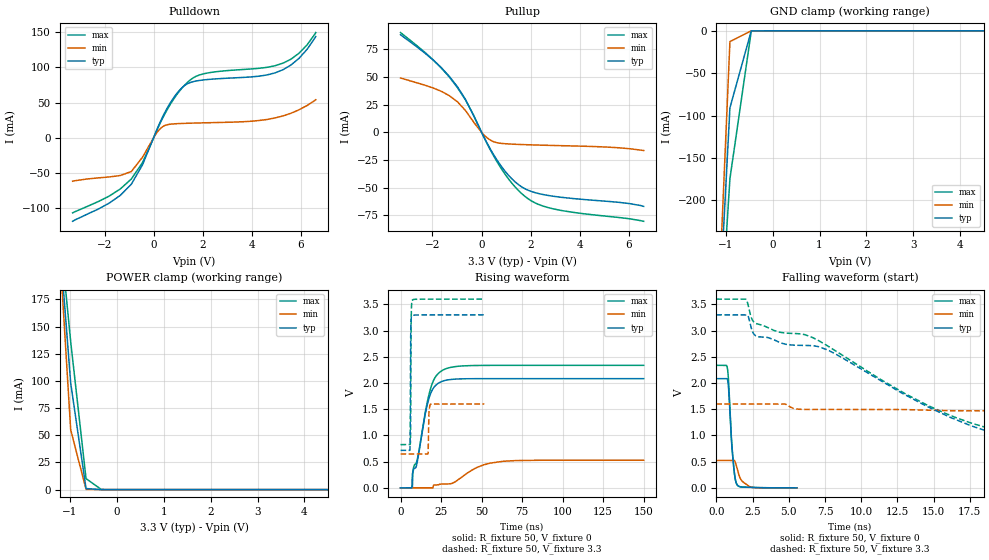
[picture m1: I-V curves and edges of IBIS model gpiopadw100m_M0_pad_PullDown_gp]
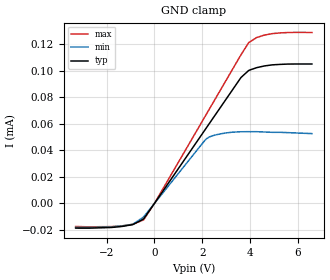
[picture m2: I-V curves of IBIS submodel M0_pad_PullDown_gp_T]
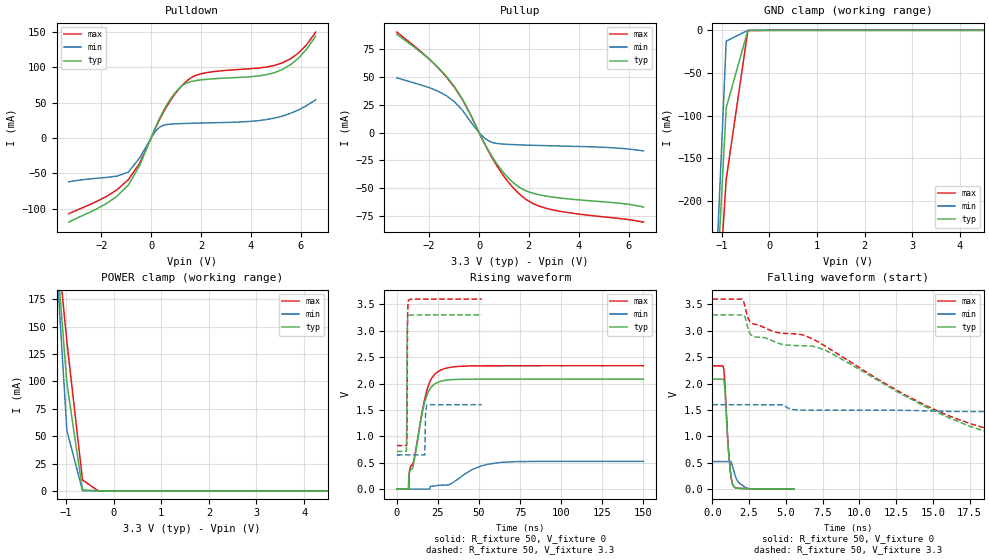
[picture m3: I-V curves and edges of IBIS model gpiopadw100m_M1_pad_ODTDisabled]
|   - ATMEL Microcontrollers -
|   IBIS model for SAM0D20_TQFP64
[IBIS Ver]   4.2
[Comment char]  |_char
[File Name]   sam0d20_3t64.ibs
[File Rev]   1.0
[Date]   6-MAY-2013 17:22:27
[Source]   By GENIBIS V3.2b - GENerate chip IBIS model - 29-APR-2013
[Notes]   Property of ATMEL Corporation
[Disclaimer]
                  (C) Copyright ATMEL Nantes 2002-2013
Atmel Nantes makes no warranty for the use of its products, other than
those expressly contained in the Company's standard warranty which is detailed
in Atmel's Terms and Conditions located on the Company's web site. The Company
assumes no responsability for any errors which may appear in this document.
The user is granted this license only to use the IBIS model and is not granted
rights to sell, load, rent, lease or license the IBIS model in whole or in part,
or in modified form to anyone other than user. User may modify the IBIS model
to suit its specific applications but rights to derivative works and such
modifications shall belong to Atmel Nantes.
This IBIS model is provided on an \"AS IS\" basis and Atmel Nantes makes
absolutely no warranty with respect to the information contained herein.
[Copyright]   Copyright (c) 2002-2013 by ATMEL Nantes SA
|   COMPONENT : SAM0D20_TQFP64
[Component]   SAM0D20_TQFP64
[Manufacturer]  ATMEL Nantes SAS
[Package]
| Package family : TQFP_L
| RLC file   : V1.0
| RLCEDIT tool   : V1.3-2009/04/07
| variable   typ   min   max
R_pkg   182.55m   101.88m   217.59m
L_pkg   4.97n   3.02n   5.92n
C_pkg   375.50f   369.49f   392.01f
[Pin]   signal_name   model_name   R_pin   L_pin   C_pin
|   Real model names   <--->   IBIS model names
|   gpiopadw100m33v1p66k25   gpiopadw100m
|   gpiopadw100m33v1p66k25   gpiopadw100m
|   gpiopadw100m33v1p66k25   gpiopadw100m
|  gpiopadtwifsmw100m33v1p66k25   gpiopadtwifsmw100m
|  gpiopadtwifsmw100m33v1p66k25   gpiopadtwifsmw100m
|  gpiopadtwifsmw100m33v1p66k25   gpiopadtwifsmw100m
|  gpiopadtwifsmw100m33v1p66k25   gpiopadtwifsmw100m
   1   PA00   gpiopadw100m  199.92m   5.34n  375.48f
   2   PA01   gpiopadw100m  192.66m   5.18n  375.16f
   3   PA02   gpiopadw100m  189.68m   5.12n  375.03f
   4   PA03   gpiopadw100m  188.95m   5.10n  375.00f
   5   PB04   gpiopadw100m  184.88m   5.02n  374.83f
   6   PB05   gpiopadw100m  181.82m   4.95n  374.69f
   7   GNDANA   GND  109.33m   3.39n  384.01f
   8   VDDANA   POWER  127.37m   3.78n  379.35f
   9   PB06   gpiopadw100m  179.82m   4.91n  374.61f
   10   PB07   gpiopadw100m  177.93m   4.87n  374.52f
   11   PB08   gpiopadw100m  177.99m   4.87n  374.53f
   12   PB09   gpiopadw100m  179.99m   4.91n  374.61f
   13   PA04   gpiopadw100m  183.77m   4.99n  374.78f
   14   PA05   gpiopadw100m  183.21m   4.98n  374.75f
   15   PA06   gpiopadw100m  188.76m   5.10n  374.99f
   16   PA07   gpiopadw100m  195.59m   5.25n  375.29f
   17   PA08   gpiopadtwifsmw100m  210.14m   5.56n  375.92f
   18   PA09   gpiopadtwifsmw100m  203.31m   5.41n  375.62f
   19   PA10   gpiopadw100m  196.97m   5.28n  375.35f
   20   PA11   gpiopadw100m  191.64m   5.16n  375.12f
   21   VDDIO   POWER  187.55m   5.07n  374.94f
   22   GND   GND  185.11m   5.02n  374.84f
   23   PB10   gpiopadw100m  184.09m   5.00n  374.79f
   24   PB11   gpiopadw100m  184.73m   5.01n  374.82f
   25   PB12   gpiopadtwifsmw100m  185.30m   5.03n  374.84f
   26   PB13   gpiopadtwifsmw100m  185.98m   5.04n  374.87f
   27   PB14   gpiopadw100m  188.36m   5.09n  374.98f
   28   PB15   gpiopadw100m  192.18m   5.17n  375.14f
   29   PA12   gpiopadtwifsmw100m  196.67m   5.27n  375.34f
   30   PA13   gpiopadtwifsmw100m  202.09m   5.39n  375.57f
   31   PA14   gpiopadw100m  206.49m   5.48n  375.76f
   32   PA15   gpiopadw100m  204.40m   5.44n  375.67f
   33   GND   GND  195.59m   5.25n  375.29f
   34   VDDIO   POWER  188.76m   5.10n  374.99f
   35   PA16   gpiopadtwifsmw100m  128.77m   3.81n  379.59f
   36   PA17   gpiopadtwifsmw100m  181.11m   4.94n  374.66f
   37   PA18   gpiopadw100m  178.14m   4.87n  374.53f
   38   PA19   gpiopadw100m  177.03m   4.85n  374.49f
   39   PB16   gpiopadtwifsmw100m  178.91m   4.89n  374.57f
   40   PB17   gpiopadtwifsmw100m  179.25m   4.90n  374.58f
   41   PA20   gpiopadw100m  179.60m   4.90n  374.60f
   42   PA21   gpiopadw100m  180.27m   4.92n  374.63f
   43   PA22   gpiopadtwifsmw100m  180.89m   4.93n  374.65f
   44   PA23   gpiopadtwifsmw100m  183.59m   4.99n  374.77f
   45   PA24   gpiopadw100m  188.01m   5.08n  374.96f
   46   PA25   gpiopadw100m  193.63m   5.20n  375.20f
   47   GND   GND  193.05m   5.19n  375.18f
   48   VDDIO   POWER  200.47m   5.35n  375.50f
   49   PB22   gpiopadw100m  196.68m   5.27n  375.34f
   50   PB23   gpiopadw100m  190.63m   5.14n  375.07f
   51   PA27   gpiopadw100m  186.60m   5.05n  374.90f
   52   RESET_N   gpiopadw100m  183.26m   4.98n  374.75f
   53   PA28   gpiopadw100m  181.65m   4.95n  374.69f
   54   GND   GND  134.50m   3.93n  380.58f
   55   VDDCORE   POWER  132.74m   3.90n  380.28f
   56   VDDIO   POWER  131.46m   3.87n  380.06f
   57   PA30   gpiopadw100m  186.97m   5.06n  374.92f
   58   PA31   gpiopadw100m  183.63m   4.99n  374.77f
   59   PB30   gpiopadtwifsmw100m  181.95m   4.95n  374.70f
   60   PB31   gpiopadtwifsmw100m  181.73m   4.95n  374.69f
   61   PB00   gpiopadw100m  182.78m   4.97n  374.73f
   62   PB01   gpiopadw100m  185.87m   5.04n  374.87f
   63   PB02   gpiopadw100m  190.82m   5.14n  375.08f
   64   PB03   gpiopadw100m  198.05m   5.30n  375.40f
|   MODEL SELECTOR : gpiopadtwifsmw100m
[Model Selector]   gpiopadtwifsmw100m
gpiopadtwifsmw100m_M3_pad_twi   twi mode
gpiopadtwifsmw100m_M2_pad_puodt_gpiop   pull up odt
gpiopadtwifsmw100m_M1_pad_noodt_gpiop   odt disabled
gpiopadtwifsmw100m_M0_pad_pdodt_gpiop   pull down odt
|   MODEL SELECTOR : gpiopadw100m
[Model Selector]   gpiopadw100m
gpiopadw100m_M2_pad_PullUp_gpio   Pull Up
gpiopadw100m_M1_pad_ODTDisabled   ODT Disabled
gpiopadw100m_M0_pad_PullDown_gp   Pull Down
| Models and submodels in the file (11): gpiopadw100m_M0_pad_PullDown_gp (I/O), M0_pad_PullDown_gp_T (Dynamic_clamp), gpiopadw100m_M1_pad_ODTDisabled (I/O), gpiopadw100m_M2_pad_PullUp_gpio (I/O), M2_pad_PullUp_gpio_T (Dynamic_clamp), gpiopadtwifsmw100m_M0_pad_pdodt_gpiop (I/O), M0_pad_pdodt_gpiop_T (Dynamic_clamp), gpiopadtwifsmw100m_M1_pad_noodt_gpiop (I/O), gpiopadtwifsmw100m_M2_pad_puodt_gpiop (I/O), M2_pad_puodt_gpiop_T (Dynamic_clamp), gpiopadtwifsmw100m_M3_pad_twi (I/O_open_sink)
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|   MODEL : gpiopadw100m_M0_pad_PullDown_gp
[Model] gpiopadw100m_M0_pad_PullDown_gp
Model_type I/O
Vinl  =  0.99
Vinh  =  2.31
Vmeas =  1.650
| Capacitance   typ   min   max
C_comp   1.24002p   1.23763p   1.27582p
| Variables   typ   min   max
[GND Clamp Reference]   0   0   0
[POWER Clamp Reference]   3.3   1.6   3.6
[Pulldown Reference]   0   0   0
[Pullup Reference]   3.3   1.6   3.6
[Temperature Range]   25   -40   105
[Voltage Range]   3.3   1.6   3.6
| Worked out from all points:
|   slope of the pulldown table from 0 to 0.495 V, typ, clamps not added: 12.9 ohm
|   slope of the pullup table from 0 to 0.495 V, typ, clamps not added: 24.3 ohm
|   falling waveform, R_fixture 50, V_fixture 0: 20-80 % time 299ps typ, 492ps min, 300ps max; typ from 2.08 V to 0.001 V
|   falling waveform, R_fixture 50, V_fixture 3.3: 20-80 % time 12.8ns typ, 35ns min, 12.5ns max; typ from 3.3 V to 0.715 V
|   rising waveform, R_fixture 50, V_fixture 0: 20-80 % time 7.4ns typ, 16.7ns min, 8.69ns max; typ from 0 V to 2.08 V
|   rising waveform, R_fixture 50, V_fixture 3.3: 20-80 % time 217ps typ, 319ps min, 221ps max; typ from 0.715 V to 3.3 V
[GND Clamp]
| Voltage   I(typ)   I(min)   I(max)
-3.3V     -2.634A    -3.19A     -2.302A
-1.364V   -570.8mA   -594.8mA   -573.1mA
-909.1mV  -90.85mA   -12.72mA   -174.6mA
-454.5mV  -20.67uA   -222.6nA   -356.4uA
6.6V      0A         0A         0A
[POWER Clamp]
| Voltage   I(typ)   I(min)   I(max)
-3.3V     1.751A     2.103A     1.493A
-1.309V   280.3mA    286mA      281.7mA
-981.8mV  98.06mA    55.04mA    136mA
-654.5mV  963uA      216.9uA    10.07mA
-327.3mV  1.354uA    8.417nA    98.06uA
6.6V      0A         0A         0A
[Pulldown]
| Voltage   I(typ)   I(min)   I(max)
-3.3V     -119mA     -61.98mA   -107mA
-1.818V   -93.33mA   -55.91mA   -83.28mA
-909.1mV  -66.28mA   -48.18mA   -58.8mA
-454.5mV  -38.59mA   -27.85mA   -35.52mA
309.4mV   25.56mA    14.14mA    23.9mA
773.4mV   54.8mA     19.53mA    52.8mA
1.238V    73.69mA    20.38mA    73.94mA
1.598V    79.67mA    20.77mA    84.92mA
2.062V    82.36mA    21.18mA    91.19mA
4.936V    92.21mA    28.04mA    102.4mA
5.918V    113mA      39.7mA     120.2mA
6.6V      144.1mA    54mA       149.7mA
[Pullup]
| Voltage   I(typ)   I(min)   I(max)
-3.3V     88.24mA    49.15mA    90.19mA
-1.964V   65.21mA    40.03mA    65.35mA
-981.8mV  41.15mA    27.61mA    40.42mA
-654.5mV  29.72mA    19.7mA     29.25mA
-327.3mV  15.24mA    9.418mA    15.62mA
51.56mV   -2.336mA   -1.279mA   -2.314mA
360.9mV   -15.31mA   -7.05mA    -16.02mA
1.083V    -38.48mA   -10.47mA   -41.7mA
1.805V    -51.42mA   -11.17mA   -58.57mA
2.32V     -55.33mA   -11.52mA   -65.17mA
3.042V    -58.15mA   -11.95mA   -69.75mA
6.6V      -66.94mA   -16.45mA   -80.43mA
[Ramp]
dV/dt_r   1.24997/7.40251n  0.314091/16.5147n  1.40232/8.68884n
dV/dt_f   1.55089/12.8345n  0.573997/35.0183n  1.66518/12.5246n
R_load = 50
[Falling Waveform]
R_fixture = 50
V_fixture = 0
V_fixture_min = 0
V_fixture_max = 0
| Time   V(typ)   V(min)   V(max)
0s        2.083V     523.3mV    2.337V
766.8ps   2.071V     523.3mV    2.283V
859.1ps   1.854V     523.3mV    1.98V
1.016ns   1.031V     523.3mV    1.086V
1.166ns   507.3mV    523.3mV    511.5mV
1.301ns   182.1mV    499mV      180.2mV
1.456ns   49.46mV    351.4mV    51.8mV
1.737ns   16.79mV    143.7mV    17.7mV
2.377ns   11.46mV    15.09mV    11.25mV
5.563ns   974.4uV    463.6uV    868.6uV
[Falling Waveform]
R_fixture = 50
V_fixture = 3.3
V_fixture_min = 1.6
V_fixture_max = 3.6
| Time   V(typ)   V(min)   V(max)
0s        3.3V       1.6V       3.6V
2.025ns   3.299V     1.599V     3.599V
2.467ns   3.006V     1.599V     3.213V
2.726ns   2.9V       1.599V     3.135V
7.623ns   2.639V     1.496V     2.718V
16.56ns   1.298V     1.471V     1.337V
19.86ns   995.9mV    1.47V      1.078V
23.59ns   851.1mV    1.469V     959.9mV
75.53ns   715.4mV    777.3mV    825.1mV
150ns     715mV      643.3mV    824.6mV
[Rising Waveform]
R_fixture = 50
V_fixture = 0
V_fixture_min = 0
V_fixture_max = 0
| Time   V(typ)   V(min)   V(max)
0s        2.426nV    1.414nV    231.1nV
7.015ns   1.373mV    1.414nV    231.1nV
7.273ns   249.7mV    1.414nV    1.092mV
7.688ns   306.6mV    1.414nV    339.6mV
10.15ns   466.4mV    1.414nV    517.8mV
17.83ns   1.736V     1.414nV    1.816V
21.13ns   1.938V     54.42mV    2.096V
26.11ns   2.036V     74.09mV    2.247V
63.28ns   2.083V     507.2mV    2.337V
150ns     2.083V     527.1mV    2.337V
[Rising Waveform]
R_fixture = 50
V_fixture = 3.3
V_fixture_min = 1.6
V_fixture_max = 3.6
| Time   V(typ)   V(min)   V(max)
0s        715.2mV    647.1mV    824.7mV
5.764ns   715.9mV    647.1mV    824.7mV
6.051ns   1.67V      647.1mV    842mV
6.232ns   2.824V     647.1mV    1.111V
6.51ns    3.197V     647.1mV    3.089V
7.104ns   3.28V      647.1mV    3.577V
17.01ns   3.299V     647.5mV    3.599V
17.47ns   3.299V     1.414V     3.599V
18.37ns   3.3V       1.593V     3.599V
51.69ns   3.3V       1.6V       3.6V
[Add Submodel]
| Submodel Name Mode
M0_pad_PullDown_gp_T Non-Driving
| Submodel
[Submodel]  M0_pad_PullDown_gp_T
Submodel_type Dynamic_clamp
[GND Clamp]
| Voltage   I(typ)   I(min)   I(max)
-3.3V     -18.53uA   -18.06uA   -17.4uA
-1.818V   -18.12uA   -17.64uA   -17.46uA
-909.1mV  -15.94uA   -15.68uA   -15.74uA
-454.5mV  -11.7uA    -10.25uA   -12.4uA
0V        13.22pA    6.228pA    323.5pA
2.166V    56.71uA    48.48uA    66.94uA
2.681V    70.21uA    52.14uA    82.88uA
3.627V    94.95uA    54.06uA    112.1uA
3.955V    100.3uA    54.12uA    121.3uA
4.282V    102.4uA    54.12uA    125.1uA
4.936V    104.5uA    53.64uA    128uA
6.6V      105.1uA    52.67uA    128.9uA
|   MODEL : gpiopadw100m_M1_pad_ODTDisabled
[Model] gpiopadw100m_M1_pad_ODTDisabled
Model_type I/O
Vinl  =  0.99
Vinh  =  2.31
Vmeas =  1.650
| Capacitance   typ   min   max
C_comp   1.24002p   1.23763p   1.27582p
| Variables   typ   min   max
[GND Clamp Reference]   0   0   0
[POWER Clamp Reference]   3.3   1.6   3.6
[Pulldown Reference]   0   0   0
[Pullup Reference]   3.3   1.6   3.6
[Temperature Range]   25   -40   105
[Voltage Range]   3.3   1.6   3.6
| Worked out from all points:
|   slope of the pulldown table from 0 to 0.495 V, typ, clamps not added: 12.9 ohm
|   slope of the pullup table from 0 to 0.495 V, typ, clamps not added: 24.3 ohm
|   falling waveform, R_fixture 50, V_fixture 0: 20-80 % time 299ps typ, 492ps min, 300ps max; typ from 2.08 V to 0.001 V
|   falling waveform, R_fixture 50, V_fixture 3.3: 20-80 % time 12.8ns typ, 35ns min, 12.5ns max; typ from 3.3 V to 0.715 V
|   rising waveform, R_fixture 50, V_fixture 0: 20-80 % time 7.4ns typ, 16.7ns min, 8.69ns max; typ from 0 V to 2.08 V
|   rising waveform, R_fixture 50, V_fixture 3.3: 20-80 % time 217ps typ, 319ps min, 221ps max; typ from 0.715 V to 3.3 V
[GND Clamp]
| Voltage   I(typ)   I(min)   I(max)
-3.3V     -2.634A    -3.19A     -2.302A
-1.364V   -570.8mA   -594.8mA   -573.1mA
-909.1mV  -90.85mA   -12.72mA   -174.6mA
-454.5mV  -20.67uA   -222.6nA   -356.4uA
6.6V      0A         0A         0A
[POWER Clamp]
| Voltage   I(typ)   I(min)   I(max)
-3.3V     1.751A     2.103A     1.493A
-1.309V   280.3mA    286mA      281.7mA
-981.8mV  98.06mA    55.04mA    136mA
-654.5mV  963uA      216.9uA    10.07mA
-327.3mV  1.354uA    8.417nA    98.06uA
6.6V      0A         0A         0A
[Pulldown]
| Voltage   I(typ)   I(min)   I(max)
-3.3V     -119mA     -61.98mA   -107mA
-1.818V   -93.33mA   -55.91mA   -83.28mA
-909.1mV  -66.28mA   -48.18mA   -58.8mA
-454.5mV  -38.59mA   -27.85mA   -35.52mA
309.4mV   25.56mA    14.14mA    23.9mA
773.4mV   54.8mA     19.53mA    52.8mA
1.238V    73.69mA    20.38mA    73.94mA
1.598V    79.67mA    20.77mA    84.92mA
2.062V    82.36mA    21.18mA    91.19mA
4.936V    92.21mA    28.04mA    102.4mA
5.918V    113mA      39.7mA     120.2mA
6.6V      144.1mA    54mA       149.7mA
[Pullup]
| Voltage   I(typ)   I(min)   I(max)
-3.3V     88.24mA    49.15mA    90.19mA
-1.964V   65.21mA    40.03mA    65.35mA
-981.8mV  41.15mA    27.61mA    40.42mA
-654.5mV  29.72mA    19.7mA     29.25mA
-327.3mV  15.24mA    9.418mA    15.62mA
51.56mV   -2.336mA   -1.279mA   -2.314mA
360.9mV   -15.31mA   -7.05mA    -16.02mA
1.083V    -38.48mA   -10.47mA   -41.7mA
1.805V    -51.42mA   -11.17mA   -58.57mA
2.32V     -55.33mA   -11.52mA   -65.17mA
3.042V    -58.15mA   -11.95mA   -69.75mA
6.6V      -66.94mA   -16.45mA   -80.43mA
[Ramp]
dV/dt_r   1.24997/7.40251n  0.314091/16.5147n  1.40232/8.68884n
dV/dt_f   1.55089/12.8345n  0.573997/35.0183n  1.66518/12.5246n
R_load = 50
[Falling Waveform]
R_fixture = 50
V_fixture = 0
V_fixture_min = 0
V_fixture_max = 0
| Time   V(typ)   V(min)   V(max)
0s        2.083V     523.3mV    2.337V
766.8ps   2.071V     523.3mV    2.283V
859.1ps   1.854V     523.3mV    1.98V
1.016ns   1.031V     523.3mV    1.086V
1.166ns   507.3mV    523.3mV    511.5mV
1.301ns   182.1mV    499mV      180.2mV
1.456ns   49.46mV    351.4mV    51.8mV
1.737ns   16.79mV    143.7mV    17.7mV
2.377ns   11.46mV    15.09mV    11.25mV
5.563ns   974.4uV    463.6uV    868.6uV
[Falling Waveform]
R_fixture = 50
V_fixture = 3.3
V_fixture_min = 1.6
V_fixture_max = 3.6
| Time   V(typ)   V(min)   V(max)
0s        3.3V       1.6V       3.6V
2.025ns   3.299V     1.599V     3.599V
2.467ns   3.006V     1.599V     3.213V
2.726ns   2.9V       1.599V     3.135V
7.623ns   2.639V     1.496V     2.718V
16.56ns   1.298V     1.471V     1.337V
19.86ns   995.9mV    1.47V      1.078V
23.59ns   851.1mV    1.469V     959.9mV
75.53ns   715.4mV    777.3mV    825.1mV
150ns     715mV      643.3mV    824.6mV
[Rising Waveform]
R_fixture = 50
V_fixture = 0
V_fixture_min = 0
V_fixture_max = 0
| Time   V(typ)   V(min)   V(max)
0s        2.426nV    1.414nV    231.1nV
7.015ns   1.373mV    1.414nV    231.1nV
7.273ns   249.7mV    1.414nV    1.092mV
7.688ns   306.6mV    1.414nV    339.6mV
10.15ns   466.4mV    1.414nV    517.8mV
17.83ns   1.736V     1.414nV    1.816V
21.13ns   1.938V     54.42mV    2.096V
26.11ns   2.036V     74.09mV    2.247V
63.28ns   2.083V     507.2mV    2.337V
150ns     2.083V     527.1mV    2.337V
[Rising Waveform]
R_fixture = 50
V_fixture = 3.3
V_fixture_min = 1.6
V_fixture_max = 3.6
| Time   V(typ)   V(min)   V(max)
0s        715.2mV    647.1mV    824.7mV
5.764ns   715.9mV    647.1mV    824.7mV
6.051ns   1.67V      647.1mV    842mV
6.232ns   2.824V     647.1mV    1.111V
6.51ns    3.197V     647.1mV    3.089V
7.104ns   3.28V      647.1mV    3.577V
17.01ns   3.299V     647.5mV    3.599V
17.47ns   3.299V     1.414V     3.599V
18.37ns   3.3V       1.593V     3.599V
51.69ns   3.3V       1.6V       3.6V
